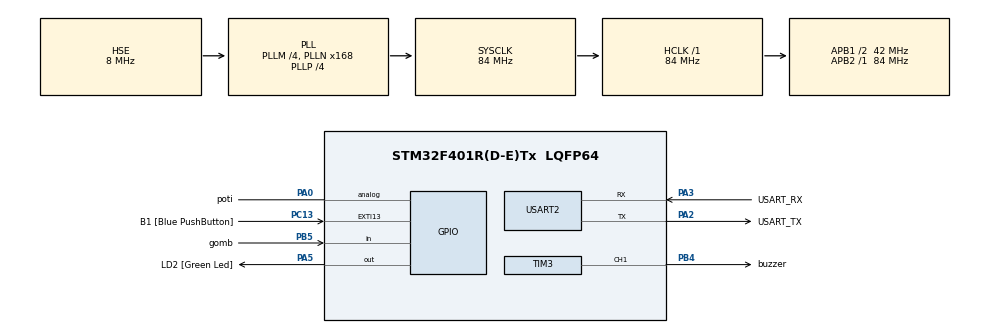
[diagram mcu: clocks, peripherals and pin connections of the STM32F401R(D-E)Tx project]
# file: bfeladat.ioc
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Mcu.Family=STM32F4
Mcu.Name=STM32F401R(D-E)Tx
Mcu.Package=LQFP64
NVIC.PriorityGroup=NVIC_PRIORITYGROUP_4
PA0-WKUP.GPIO_Label=poti
PA0-WKUP.Signal=GPIO_Analog
PA13.GPIO_Label=TMS
PA13.Mode=Trace_Asynchronous_SW
PA13.Signal=SYS_JTMS-SWDIO
PA14.GPIO_Label=TCK
PA14.Mode=Trace_Asynchronous_SW
PA14.Signal=SYS_JTCK-SWCLK
PA2.GPIO_Label=USART_TX
PA2.GPIO_Mode=GPIO_MODE_AF_PP
PA2.GPIO_PuPd=GPIO_NOPULL
PA2.GPIO_Speed=GPIO_SPEED_FREQ_LOW
PA2.Mode=Asynchronous
PA2.Signal=USART2_TX
PA3.GPIO_Label=USART_RX
PA3.GPIO_Mode=GPIO_MODE_AF_PP
PA3.GPIO_PuPd=GPIO_NOPULL
PA3.GPIO_Speed=GPIO_SPEED_FREQ_LOW
PA3.Mode=Asynchronous
PA3.Signal=USART2_RX
PA5.GPIO_Label=LD2 [Green Led]
PA5.GPIO_Mode=GPIO_MODE_OUTPUT_PP
PA5.GPIO_PuPd=GPIO_NOPULL
PA5.GPIO_Speed=GPIO_SPEED_FREQ_LOW
PA5.Signal=GPIO_Output
PB3.GPIO_Label=SWO
PB3.Mode=Trace_Asynchronous_SW
PB3.Signal=SYS_JTDO-SWO
PB4.GPIO_Label=buzzer
PB4.Signal=S_TIM3_CH1
PB5.GPIO_Label=gomb
PB5.Signal=GPIO_Input
PC13-ANTI_TAMP.GPIO_Label=B1 [Blue PushButton]
PC13-ANTI_TAMP.GPIO_ModeDefaultEXTI=GPIO_MODE_IT_FALLING
PC13-ANTI_TAMP.GPIO_PuPd=GPIO_NOPULL
PC13-ANTI_TAMP.Signal=GPXTI13
PC14-OSC32_IN.Mode=LSE-External-Oscillator
PC14-OSC32_IN.Signal=RCC_OSC32_IN
PC15-OSC32_OUT.Mode=LSE-External-Oscillator
PC15-OSC32_OUT.Signal=RCC_OSC32_OUT
PH0\ -\ OSC_IN.Mode=HSE-External-Clock-Source
PH0\ -\ OSC_IN.Signal=RCC_OSC_IN
PH1\ -\ OSC_OUT.Mode=HSE-External-Clock-Source
PH1\ -\ OSC_OUT.Signal=RCC_OSC_OUT
ProjectManager.HeapSize=0x200
ProjectManager.StackSize=0x400
ProjectManager.TargetToolchain=EWARM V8.50
RCC.48MHZClocksFreq_Value=48000000
RCC.AHBFreq_Value=84000000
RCC.APB1CLKDivider=RCC_HCLK_DIV2
RCC.APB1Freq_Value=42000000
RCC.APB1TimFreq_Value=84000000
RCC.APB2Freq_Value=84000000
RCC.APB2TimFreq_Value=84000000
RCC.CortexFreq_Value=84000000
RCC.HCLKFreq_Value=84000000
RCC.HSE_VALUE=8000000
RCC.HSI_VALUE=16000000
RCC.PLLM=4
RCC.PLLN=168
RCC.PLLP=RCC_PLLP_DIV4
RCC.PLLQ=7
RCC.PLLSourceVirtual=RCC_PLLSOURCE_HSE
RCC.SYSCLKFreq_VALUE=84000000
RCC.SYSCLKSource=RCC_SYSCLKSOURCE_PLLCLK
RCC.VCOOutputFreq_Value=336000000
SH.S_TIM3_CH1.0=TIM3_CH1,PWM Generation1 CH1
TIM3.Channel-PWM\ Generation1\ CH1=TIM_CHANNEL_1
TIM3.Period=2499
TIM3.Prescaler=83
TIM3.Pulse-PWM\ Generation1\ CH1=1250
USART2.VirtualMode=VM_ASYNC
VP_TIM3_VS_ClockSourceINT.Mode=Internal
board=NUCLEO-F401RE

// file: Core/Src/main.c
/* USER CODE BEGIN Header */
/**
  ******************************************************************************
  * @file           : main.c
  * @brief          : Main program body
  ******************************************************************************
  * @attention
  *
  * Copyright (c) 2026 STMicroelectronics.
  * All rights reserved.
  *
  * This software is licensed under terms that can be found in the LICENSE file
  * in the root directory of this software component.
  * If no LICENSE file comes with this software, it is provided AS-IS.
  *
  ******************************************************************************
  */
/* USER CODE END Header */
#include "main.h"

TIM_HandleTypeDef htim3;

UART_HandleTypeDef huart2;

void SystemClock_Config(void);
static void MX_GPIO_Init(void);
static void MX_TIM3_Init(void);
static void MX_USART2_UART_Init(void);

int main(void)
{

  /* MCU Configuration--------------------------------------------------------*/

  /* Reset of all peripherals, Initializes the Flash interface and the Systick. */
  HAL_Init();

  /* Configure the system clock */
  SystemClock_Config();

  /* Initialize all configured peripherals */
  MX_GPIO_Init();
  MX_TIM3_Init();
  MX_USART2_UART_Init();
  /* USER CODE BEGIN 2 */

  HAL_TIM_PWM_Start(&htim3, TIM_CHANNEL_1);
  HAL_ADC_Start(&hadc1);
  uint8_t buzzer_state = 0;
  uint8_t last_button_state = GPIO_PIN_SET;

  /* USER CODE END 2 */

  /* Infinite loop */
  /* USER CODE BEGIN WHILE */
  while (1)
  {
    uint8_t current_button_state = HAL_GPIO_ReadPin(gomb_GPIO_Port, gomb_Pin);

    if (current_button_state == GPIO_PIN_RESET && last_button_state == GPIO_PIN_SET)
      {
          buzzer_state = !buzzer_state;
          HAL_Delay(50);
      }
    last_button_state = current_button_state;

    if (buzzer_state == 1)
      {
          HAL_ADC_Start(&hadc1);
          if (HAL_ADC_PollForConversion(&hadc1, 100) == HAL_OK)
          {
              uint32_t pot_value = HAL_ADC_GetValue(&hadc1);

              uint32_t arr_value = 500 + (pot_value * 4000 / 4095);

              __HAL_TIM_SET_AUTORELOAD(&htim3, arr_value);

              __HAL_TIM_SET_COMPARE(&htim3, TIM_CHANNEL_1, arr_value / 2);
          }
          HAL_ADC_Stop(&hadc1);
      }
      else
      {
          __HAL_TIM_SET_COMPARE(&htim3, TIM_CHANNEL_1, 0);
      }

      HAL_Delay(50);
    /* USER CODE END WHILE */

  }
}

void SystemClock_Config(void)
{
  RCC_OscInitTypeDef RCC_OscInitStruct = {0};
  RCC_ClkInitTypeDef RCC_ClkInitStruct = {0};

  /** Configure the main internal regulator output voltage
  */
  __HAL_RCC_PWR_CLK_ENABLE();
  __HAL_PWR_VOLTAGESCALING_CONFIG(PWR_REGULATOR_VOLTAGE_SCALE2);

  /** Initializes the RCC Oscillators according to the specified parameters
  * in the RCC_OscInitTypeDef structure.
  */
  RCC_OscInitStruct.OscillatorType = RCC_OSCILLATORTYPE_HSE;
  RCC_OscInitStruct.HSEState = RCC_HSE_BYPASS;
  RCC_OscInitStruct.PLL.PLLState = RCC_PLL_ON;
  RCC_OscInitStruct.PLL.PLLSource = RCC_PLLSOURCE_HSE;
  RCC_OscInitStruct.PLL.PLLM = 4;
  RCC_OscInitStruct.PLL.PLLN = 168;
  RCC_OscInitStruct.PLL.PLLP = RCC_PLLP_DIV4;
  RCC_OscInitStruct.PLL.PLLQ = 7;
  if (HAL_RCC_OscConfig(&RCC_OscInitStruct) != HAL_OK)
  {
    Error_Handler();
  }

  /** Initializes the CPU, AHB and APB buses clocks
  */
  RCC_ClkInitStruct.ClockType = RCC_CLOCKTYPE_HCLK|RCC_CLOCKTYPE_SYSCLK
                              |RCC_CLOCKTYPE_PCLK1|RCC_CLOCKTYPE_PCLK2;
  RCC_ClkInitStruct.SYSCLKSource = RCC_SYSCLKSOURCE_PLLCLK;
  RCC_ClkInitStruct.AHBCLKDivider = RCC_SYSCLK_DIV1;
  RCC_ClkInitStruct.APB1CLKDivider = RCC_HCLK_DIV2;
  RCC_ClkInitStruct.APB2CLKDivider = RCC_HCLK_DIV1;

  if (HAL_RCC_ClockConfig(&RCC_ClkInitStruct, FLASH_LATENCY_2) != HAL_OK)
  {
    Error_Handler();
  }
}

static void MX_TIM3_Init(void)
{

  TIM_ClockConfigTypeDef sClockSourceConfig = {0};
  TIM_MasterConfigTypeDef sMasterConfig = {0};
  TIM_OC_InitTypeDef sConfigOC = {0};

  htim3.Instance = TIM3;
  htim3.Init.Prescaler = 83;
  htim3.Init.CounterMode = TIM_COUNTERMODE_UP;
  htim3.Init.Period = 2499;
  htim3.Init.ClockDivision = TIM_CLOCKDIVISION_DIV1;
  htim3.Init.AutoReloadPreload = TIM_AUTORELOAD_PRELOAD_DISABLE;
  if (HAL_TIM_Base_Init(&htim3) != HAL_OK)
  {
    Error_Handler();
  }
  sClockSourceConfig.ClockSource = TIM_CLOCKSOURCE_INTERNAL;
  if (HAL_TIM_ConfigClockSource(&htim3, &sClockSourceConfig) != HAL_OK)
  {
    Error_Handler();
  }
  if (HAL_TIM_PWM_Init(&htim3) != HAL_OK)
  {
    Error_Handler();
  }
  sMasterConfig.MasterOutputTrigger = TIM_TRGO_RESET;
  sMasterConfig.MasterSlaveMode = TIM_MASTERSLAVEMODE_DISABLE;
  if (HAL_TIMEx_MasterConfigSynchronization(&htim3, &sMasterConfig) != HAL_OK)
  {
    Error_Handler();
  }
  sConfigOC.OCMode = TIM_OCMODE_PWM1;
  sConfigOC.Pulse = 1250;
  sConfigOC.OCPolarity = TIM_OCPOLARITY_HIGH;
  sConfigOC.OCFastMode = TIM_OCFAST_DISABLE;
  if (HAL_TIM_PWM_ConfigChannel(&htim3, &sConfigOC, TIM_CHANNEL_1) != HAL_OK)
  {
    Error_Handler();
  }
  HAL_TIM_MspPostInit(&htim3);

}

static void MX_USART2_UART_Init(void)
{

  huart2.Instance = USART2;
  huart2.Init.BaudRate = 115200;
  huart2.Init.WordLength = UART_WORDLENGTH_8B;
  huart2.Init.StopBits = UART_STOPBITS_1;
  huart2.Init.Parity = UART_PARITY_NONE;
  huart2.Init.Mode = UART_MODE_TX_RX;
  huart2.Init.HwFlowCtl = UART_HWCONTROL_NONE;
  huart2.Init.OverSampling = UART_OVERSAMPLING_16;
  if (HAL_UART_Init(&huart2) != HAL_OK)
  {
    Error_Handler();
  }

}

static void MX_GPIO_Init(void)
{
  GPIO_InitTypeDef GPIO_InitStruct = {0};

  /* GPIO Ports Clock Enable */
  __HAL_RCC_GPIOC_CLK_ENABLE();
  __HAL_RCC_GPIOH_CLK_ENABLE();
  __HAL_RCC_GPIOA_CLK_ENABLE();
  __HAL_RCC_GPIOB_CLK_ENABLE();

  /*Configure GPIO pin Output Level */
  HAL_GPIO_WritePin(LD2_GPIO_Port, LD2_Pin, GPIO_PIN_RESET);

  /*Configure GPIO pin : B1_Pin */
  GPIO_InitStruct.Pin = B1_Pin;
  GPIO_InitStruct.Mode = GPIO_MODE_IT_FALLING;
  GPIO_InitStruct.Pull = GPIO_NOPULL;
  HAL_GPIO_Init(B1_GPIO_Port, &GPIO_InitStruct);

  /*Configure GPIO pin : poti_Pin */
  GPIO_InitStruct.Pin = poti_Pin;
  GPIO_InitStruct.Mode = GPIO_MODE_ANALOG;
  GPIO_InitStruct.Pull = GPIO_NOPULL;
  HAL_GPIO_Init(poti_GPIO_Port, &GPIO_InitStruct);

  /*Configure GPIO pin : LD2_Pin */
  GPIO_InitStruct.Pin = LD2_Pin;
  GPIO_InitStruct.Mode = GPIO_MODE_OUTPUT_PP;
  GPIO_InitStruct.Pull = GPIO_NOPULL;
  GPIO_InitStruct.Speed = GPIO_SPEED_FREQ_LOW;
  HAL_GPIO_Init(LD2_GPIO_Port, &GPIO_InitStruct);

  /*Configure GPIO pin : gomb_Pin */
  GPIO_InitStruct.Pin = gomb_Pin;
  GPIO_InitStruct.Mode = GPIO_MODE_INPUT;
  GPIO_InitStruct.Pull = GPIO_NOPULL;
  HAL_GPIO_Init(gomb_GPIO_Port, &GPIO_InitStruct);

}

void Error_Handler(void)
{
  __disable_irq();
  while (1)
  {
  }
}
